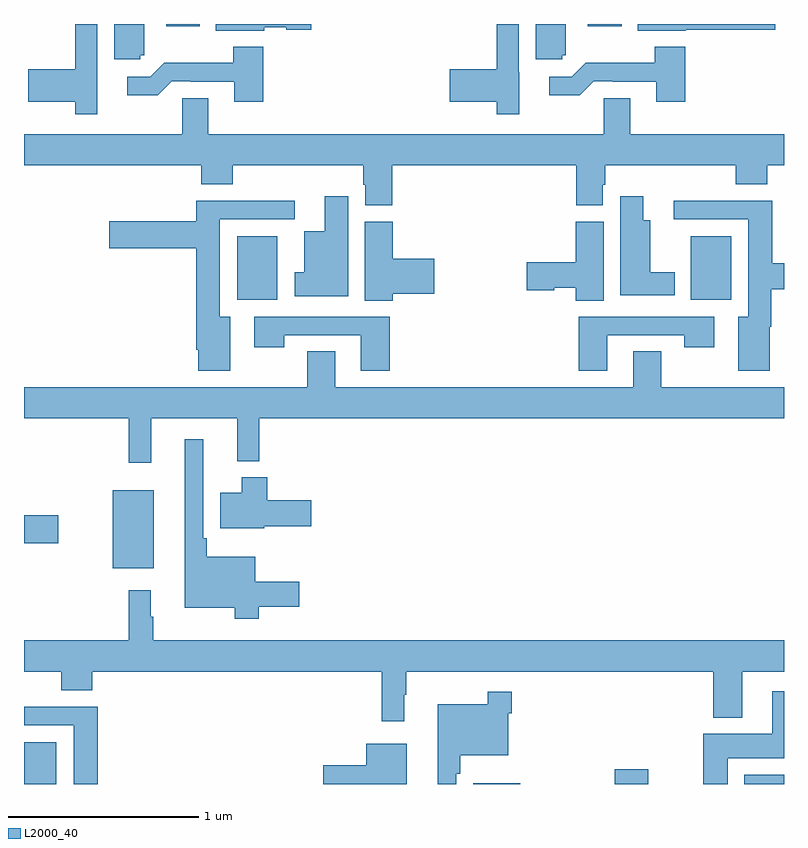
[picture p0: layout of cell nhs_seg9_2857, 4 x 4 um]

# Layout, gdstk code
import gdstk
lib = gdstk.Library(unit=1e-6, precision=1e-09)
def R(c, l, rs):  # rectangles x0, y0, x1, y1
    for r in rs: c.add(gdstk.rectangle(r[:2], r[2:], *l))
def P(c, l, *ps):  # polygons
    for p in ps: c.add(gdstk.Polygon(p, *l))
L2000_40 = (2000, 40)

nhs_seg9_2857 = lib.new_cell('nhs_seg9_2857')
R(nhs_seg9_2857, L2000_40, [(275,1190.5,275.17,1190.719), (277.364,1190.5,277.613,1190.503), (278.108,1190.5,278.286,1190.578), (278.792,1190.5,279,1190.548), (275.468,1191.635,275.683,1192.045), (275,1191.767,275.179,1191.914), (276.122,1193.048,276.334,1193.383), (278.51,1193.048,278.722,1193.383), (275.748,1194.488,275.925,1194.5), (277.968,1194.488,278.145,1194.5)])
P(nhs_seg9_2857, L2000_40, [(275.386,1194.246),(275.385,1194.246),(275.385,1194.5),(275.269,1194.5),(275.269,1194.263),(275.022,1194.263),(275.022,1194.092),(275.269,1194.092),(275.269,1194.024),(275.386,1194.024)],
  [(278.484,1194.47),(278.953,1194.47),(278.953,1194.5),(278.23,1194.5),(278.23,1194.464),(278.484,1194.464)],
  [(275.613,1194.336),(275.632,1194.336),(275.632,1194.5),(275.474,1194.5),(275.474,1194.315),(275.613,1194.315)],
  [(276.264,1194.482),(276.381,1194.482),(276.381,1194.47),(276.511,1194.47),(276.511,1194.5),(276.01,1194.5),(276.01,1194.464),(276.264,1194.464)],
  [(277.833,1194.336),(277.852,1194.336),(277.852,1194.5),(277.694,1194.5),(277.694,1194.315),(277.833,1194.315)],
  [(277.606,1194.246),(277.605,1194.246),(277.605,1194.5),(277.489,1194.5),(277.489,1194.263),(277.242,1194.263),(277.242,1194.092),(277.489,1194.092),(277.489,1194.024),(277.606,1194.024)],
  [(276.26,1194.379),(276.1,1194.379),(276.1,1194.295),(275.737,1194.295),(275.664,1194.222),(275.544,1194.222),(275.544,1194.125),(275.705,1194.125),(275.778,1194.198),(275.878,1194.198),(275.878,1194.195),(276.107,1194.195),(276.107,1194.09),(276.26,1194.09)],
  [(278.48,1194.379),(278.32,1194.379),(278.32,1194.295),(277.957,1194.295),(277.884,1194.222),(277.764,1194.222),(277.764,1194.125),(277.925,1194.125),(277.998,1194.198),(278.098,1194.198),(278.098,1194.195),(278.327,1194.195),(278.327,1194.09),(278.48,1194.09)],
  [(276.938,1193.756),(277.907,1193.756),(277.907,1193.545),(278.047,1193.545),(278.047,1193.655),(278.06,1193.655),(278.06,1193.756),(278.747,1193.756),(278.747,1193.657),(278.912,1193.657),(278.912,1193.756),(279,1193.756),(279,1193.92),(278.191,1193.92),(278.191,1194.11),(278.052,1194.11),(278.052,1193.92),(275.971,1193.92),(275.971,1194.11),(275.832,1194.11),(275.832,1193.92),(275,1193.92),(275,1193.756),(275.933,1193.756),(275.933,1193.657),(276.098,1193.657),(276.098,1193.756),(276.785,1193.756),(276.785,1193.655),(276.797,1193.655),(276.797,1193.545),(276.938,1193.545)],
  [(278.425,1193.194),(278.296,1193.194),(278.296,1193.467),(278.26,1193.467),(278.26,1193.593),(278.138,1193.593),(278.138,1193.072),(278.425,1193.072)],
  [(276.706,1193.593),(276.584,1193.593),(276.584,1193.41),(276.476,1193.41),(276.476,1193.194),(276.425,1193.194),(276.425,1193.066),(276.706,1193.066)],
  [(276.085,1192.96),(276.031,1192.96),(276.031,1193.472),(276.424,1193.472),(276.424,1193.57),(275.906,1193.57),(275.906,1193.463),(275.448,1193.463),(275.448,1193.321),(275.906,1193.321),(275.906,1192.786),(275.918,1192.786),(275.918,1192.674),(276.085,1192.674)],
  [(278.926,1192.907),(278.934,1192.907),(278.934,1193.104),(279,1193.104),(279,1193.24),(278.939,1193.24),(278.939,1193.57),(278.421,1193.57),(278.421,1193.472),(278.813,1193.472),(278.813,1192.96),(278.759,1192.96),(278.759,1192.674),(278.926,1192.674)],
  [(276.941,1193.081),(277.159,1193.081),(277.159,1193.264),(276.941,1193.264),(276.941,1193.46),(276.794,1193.46),(276.794,1193.044),(276.941,1193.044)],
  [(278.05,1193.46),(277.904,1193.46),(277.904,1193.246),(277.647,1193.246),(277.647,1193.099),(277.79,1193.099),(277.79,1193.111),(277.904,1193.111),(277.904,1193.044),(278.05,1193.044)],
  [(276.926,1192.959),(276.213,1192.959),(276.213,1192.8),(276.369,1192.8),(276.369,1192.863),(276.773,1192.863),(276.773,1192.674),(276.926,1192.674)],
  [(278.071,1192.863),(278.476,1192.863),(278.476,1192.8),(278.632,1192.8),(278.632,1192.959),(277.919,1192.959),(277.919,1192.674),(278.071,1192.674)],
  [(275.669,1192.424),(276.122,1192.424),(276.122,1192.199),(276.239,1192.199),(276.239,1192.424),(279,1192.424),(279,1192.588),(278.355,1192.588),(278.355,1192.778),(278.207,1192.778),(278.207,1192.588),(276.637,1192.588),(276.637,1192.778),(276.49,1192.778),(276.49,1192.588),(275,1192.588),(275,1192.424),(275.551,1192.424),(275.551,1192.191),(275.669,1192.191)],
  [(276.236,1191.434),(276.448,1191.434),(276.448,1191.564),(276.217,1191.564),(276.217,1191.697),(275.963,1191.697),(275.963,1191.793),(275.943,1191.793),(275.943,1192.315),(275.846,1192.315),(275.846,1191.428),(276.108,1191.428),(276.108,1191.371),(276.236,1191.371)],
  [(276.264,1191.856),(276.511,1191.856),(276.511,1191.993),(276.281,1191.993),(276.281,1192.114),(276.146,1192.114),(276.146,1192.033),(276.032,1192.033),(276.032,1191.845),(276.264,1191.845)],
  [(277,1190.969),(277.012,1190.969),(277.012,1191.092),(278.627,1191.092),(278.627,1190.849),(278.779,1190.849),(278.779,1191.092),(279,1191.092),(279,1191.256),(275.68,1191.256),(275.68,1191.38),(275.668,1191.38),(275.668,1191.52),(275.551,1191.52),(275.551,1191.256),(275,1191.256),(275,1191.092),(275.195,1191.092),(275.195,1190.993),(275.36,1190.993),(275.36,1191.092),(276.883,1191.092),(276.883,1190.829),(277,1190.829)],
  [(278.704,1190.636),(279,1190.636),(279,1190.989),(278.939,1190.989),(278.939,1190.764),(278.575,1190.764),(278.575,1190.5),(278.704,1190.5)],
  [(277.275,1190.555),(277.295,1190.555),(277.295,1190.651),(277.548,1190.651),(277.548,1190.873),(277.568,1190.873),(277.568,1190.986),(277.44,1190.986),(277.44,1190.92),(277.178,1190.92),(277.178,1190.5),(277.275,1190.5)],
  [(275.387,1190.906),(275,1190.906),(275,1190.808),(275.261,1190.808),(275.261,1190.5),(275.387,1190.5)],
  [(277.015,1190.713),(276.8,1190.713),(276.8,1190.6),(276.576,1190.6),(276.576,1190.5),(277.015,1190.5)])

lib.write_gds('nhs_seg9_2857.gds')
